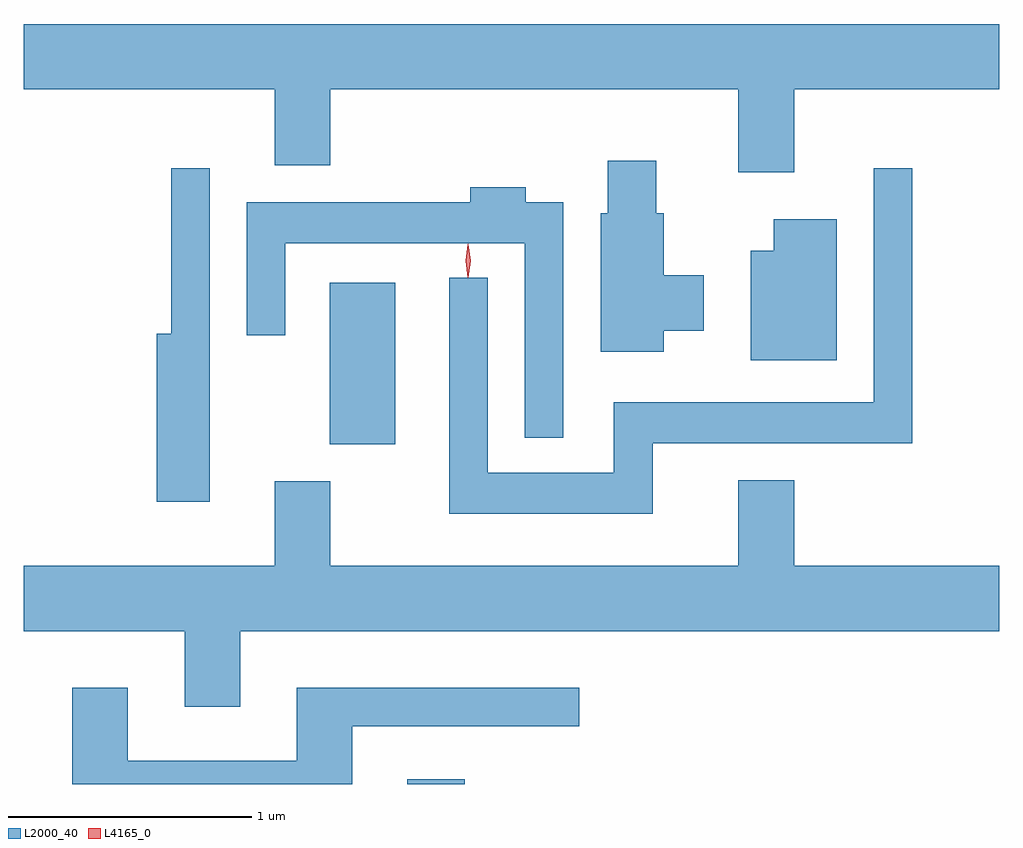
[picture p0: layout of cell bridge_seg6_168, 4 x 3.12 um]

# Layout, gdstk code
import gdstk
lib = gdstk.Library(unit=1e-6, precision=1e-09)
def R(c, l, rs):  # rectangles x0, y0, x1, y1
    for r in rs: c.add(gdstk.rectangle(r[:2], r[2:], *l))
def P(c, l, *ps):  # polygons
    for p in ps: c.add(gdstk.Polygon(p, *l))
L2000_40 = (2000, 40)
L4165_0 = (4165, 0)

bridge_seg6_168 = lib.new_cell('bridge_seg6_168')
R(bridge_seg6_168, L2000_40, [(1118.383,1567.169,1118.619,1567.189), (1118.066,1568.561,1118.334,1569.224)])
P(bridge_seg6_168, L2000_40, [(1119.969,1570.016),(1120.811,1570.016),(1120.811,1570.284),(1116.811,1570.284),(1116.811,1570.016),(1117.841,1570.016),(1117.841,1569.706),(1118.069,1569.706),(1118.069,1570.016),(1119.741,1570.016),(1119.741,1569.676),(1119.969,1569.676)],
  [(1119.434,1569.026),(1119.599,1569.026),(1119.599,1569.254),(1119.434,1569.254),(1119.434,1569.509),(1119.404,1569.509),(1119.404,1569.724),(1119.206,1569.724),(1119.206,1569.509),(1119.176,1569.509),(1119.176,1568.941),(1119.434,1568.941)],
  [(1117.574,1569.693),(1117.416,1569.693),(1117.416,1569.014),(1117.356,1569.014),(1117.356,1568.326),(1117.574,1568.326)],
  [(1119.389,1568.566),(1120.454,1568.566),(1120.454,1569.693),(1120.296,1569.693),(1120.296,1568.734),(1119.231,1568.734),(1119.231,1568.444),(1118.714,1568.444),(1118.714,1569.243),(1118.556,1569.243),(1118.556,1568.276),(1119.389,1568.276)],
  [(1119.024,1569.554),(1118.869,1569.554),(1118.869,1569.614),(1118.641,1569.614),(1118.641,1569.554),(1117.726,1569.554),(1117.726,1569.008),(1117.884,1569.008),(1117.884,1569.386),(1118.866,1569.386),(1118.866,1568.588),(1119.024,1568.588)],
  [(1120.144,1569.484),(1119.886,1569.484),(1119.886,1569.354),(1119.791,1569.354),(1119.791,1568.906),(1120.144,1568.906)],
  [(1120.811,1568.064),(1119.969,1568.064),(1119.969,1568.414),(1119.741,1568.414),(1119.741,1568.064),(1118.069,1568.064),(1118.069,1568.409),(1117.841,1568.409),(1117.841,1568.064),(1116.811,1568.064),(1116.811,1567.796),(1117.471,1567.796),(1117.471,1567.486),(1117.699,1567.486),(1117.699,1567.796),(1120.811,1567.796)],
  [(1118.159,1567.406),(1119.088,1567.406),(1119.088,1567.564),(1117.931,1567.564),(1117.931,1567.264),(1117.239,1567.264),(1117.239,1567.564),(1117.011,1567.564),(1117.011,1567.169),(1118.159,1567.169)])
P(bridge_seg6_168, L4165_0, [(1118.633,1569.243),(1118.632,1569.244),(1118.623,1569.313),(1118.632,1569.382),(1118.633,1569.383),(1118.633,1569.382),(1118.643,1569.313),(1118.633,1569.244)])

lib.write_gds('bridge_seg6_168.gds')
